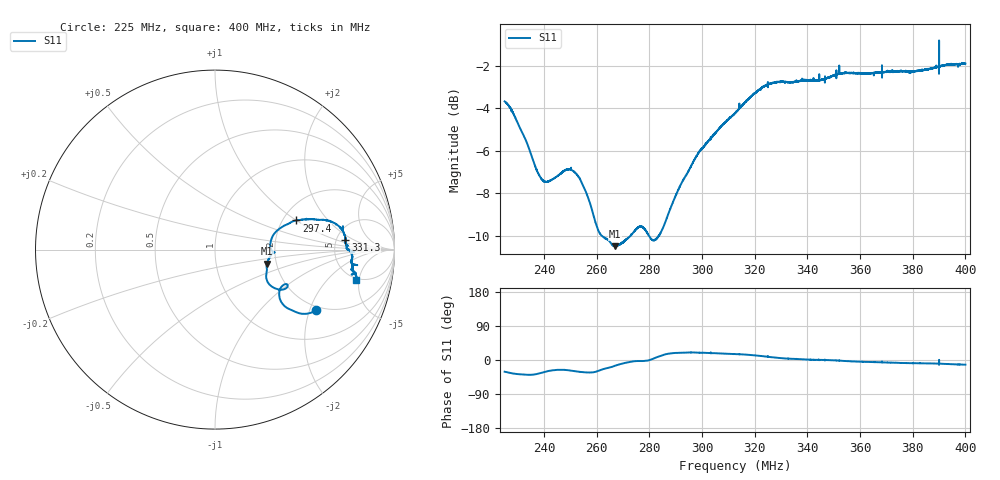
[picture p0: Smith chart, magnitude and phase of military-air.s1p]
! Calibrated averaged scanner-service zoom
# Hz S RI R 50
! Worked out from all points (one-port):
!   10001 points, 225 MHz to 400 MHz, reference 50 ohm
!   lowest |S11| = -10.5 dB at 266.9 MHz (marker M1), VSWR 1.85, Z = 88.9 - j15.3 ohm
!   |S11| at or under -10 dB: 262 MHz to 272.8 MHz (10.83 MHz wide, 4.05 % of centre); 279.8 MHz to 283.5 MHz (3.659 MHz wide, 1.3 % of centre); 283.5086 MHz to 283.5412 MHz (32.59 kHz wide, 0.0115 % of centre)
!   S11 on the Smith chart (normalised r, x): 225 MHz: 1.87, -2.21; 297.4 MHz: 2.36, +1.00; 331.3 MHz: 6.05, +1.37; 400 MHz: 4.68, -4.57
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2.25e8  0.5626 -0.3366
2.29725e8  0.469 -0.3543
2.3382e8  0.4015 -0.3253
2.368125e8  0.363 -0.2791
2.3928e8  0.358 -0.2356
2.4159e8  0.3712 -0.2065
2.46875e8  0.4024 -0.1942
2.513725e8  0.3907 -0.2186
2.559925e8  0.336 -0.2165
2.609625e8  0.285 -0.1501
2.6693e8  0.2886 -0.0785
2.6875e8  0.2965 -0.0588
2.764325e8  0.3325 -0.0156
2.7946e8  0.3191 -0.00776
2.825925e8  0.3091 0.0367
2.866525e8  0.3359 0.0957
2.90625e8  0.3798 0.1303
2.9738e8  0.4537 0.1625
3.125e8  0.5915 0.1661
3.18485e8  0.6551 0.1524
3.238925e8  0.7033 0.1163
3.313475e8  0.7266 0.053
3.34375e8  0.7273 0.0393
3.4904e8  0.7502 -0.00604
3.5625e8  0.7626 -0.0458
3.78125e8  0.7631 -0.1115
3.891325e8  0.7788 -0.1292
4e8  0.7863 -0.172
